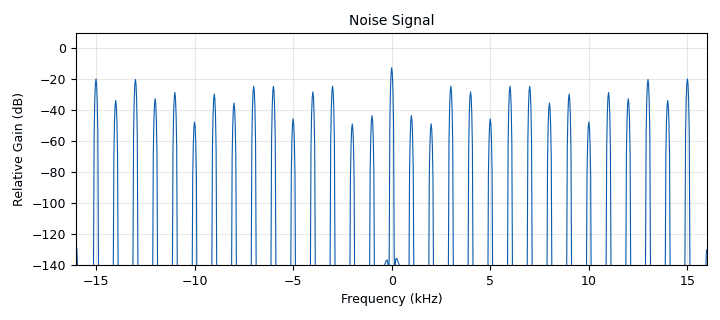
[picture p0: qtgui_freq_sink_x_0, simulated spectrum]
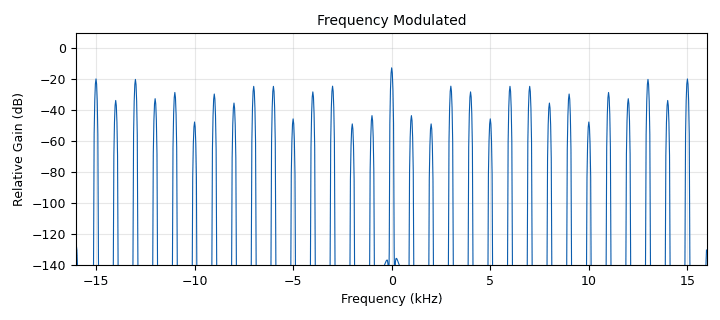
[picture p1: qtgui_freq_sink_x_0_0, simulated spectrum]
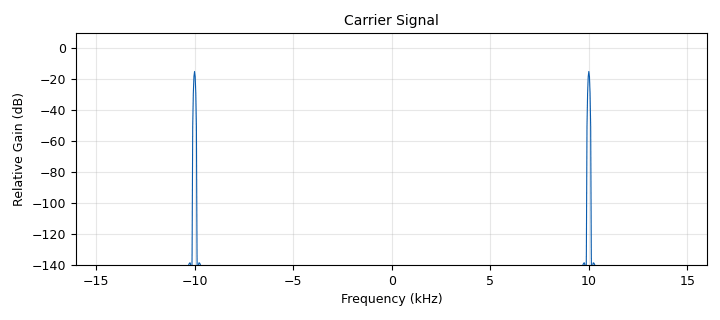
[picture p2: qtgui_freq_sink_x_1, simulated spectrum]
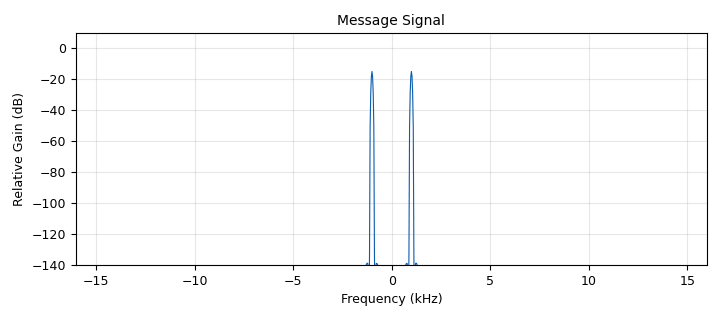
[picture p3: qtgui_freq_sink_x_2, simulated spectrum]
options:
  parameters:
    author: Eman Malik
    generate_options: qt_gui
    id: Impulse_Noise
    output_language: python
    title: Not titled yet
  states: {}

blocks:
- name: samp_rate
  id: variable
  parameters:
    value: '32000'
  states: {}
- name: variable_qtgui_range_0
  id: variable_qtgui_range
  parameters:
    start: '0'
    step: '1'
    stop: '100'
    value: '50'
  states: {}
- name: analog_frequency_modulator_fc_0
  id: analog_frequency_modulator_fc
  parameters:
    sensitivity: '314.16'
  states: {}
- name: analog_sig_source_x_0
  id: analog_sig_source_x
  parameters:
    amp: '1'
    freq: '1000'
    offset: '0'
    phase: '0'
    samp_rate: samp_rate
    type: float
    waveform: analog.GR_SIN_WAVE
  states: {}
- name: analog_sig_source_x_0_0
  id: analog_sig_source_x
  parameters:
    amp: '1'
    freq: '10000'
    offset: '0'
    phase: '0'
    samp_rate: samp_rate
    type: float
    waveform: analog.GR_COS_WAVE
  states: {}
- name: blocks_add_xx_0
  id: blocks_add_xx
  parameters:
    type: complex
  states: {}
- name: blocks_multiply_const_vxx_0
  id: blocks_multiply_const_vxx
  parameters:
    const: '1'
    type: complex
  states: {}
- name: blocks_throttle2_0
  id: blocks_throttle2
  parameters:
    samples_per_second: samp_rate
    type: float
  states: {}
- name: blocks_vector_source_x_0
  id: blocks_vector_source_x
  parameters:
    repeat: 'True'
    type: complex
    vector: (0,0,0)
  states: {}
- name: qtgui_freq_sink_x_0
  id: qtgui_freq_sink_x
  parameters:
    bw: samp_rate
    fc: '0'
    fftsize: '1024'
    name: '"Noise Signal"'
    type: complex
  states: {}
- name: qtgui_freq_sink_x_0_0
  id: qtgui_freq_sink_x
  parameters:
    bw: samp_rate
    fc: '0'
    fftsize: '1024'
    name: '"Frequency Modulated"'
    type: complex
  states: {}
- name: qtgui_freq_sink_x_1
  id: qtgui_freq_sink_x
  parameters:
    bw: samp_rate
    fc: '0'
    fftsize: '1024'
    name: '"Carrier Signal"'
    type: float
  states: {}
- name: qtgui_freq_sink_x_2
  id: qtgui_freq_sink_x
  parameters:
    bw: samp_rate
    fc: '0'
    fftsize: '1024'
    name: '"Message Signal"'
    type: float
  states: {}

connections:
- [analog_frequency_modulator_fc_0, '0', blocks_add_xx_0, '0']
- [analog_frequency_modulator_fc_0, '0', qtgui_freq_sink_x_0_0, '0']
- [analog_sig_source_x_0, '0', blocks_throttle2_0, '0']
- [analog_sig_source_x_0, '0', qtgui_freq_sink_x_2, '0']
- [analog_sig_source_x_0_0, '0', qtgui_freq_sink_x_1, '0']
- [blocks_add_xx_0, '0', qtgui_freq_sink_x_0, '0']
- [blocks_multiply_const_vxx_0, '0', blocks_add_xx_0, '1']
- [blocks_throttle2_0, '0', analog_frequency_modulator_fc_0, '0']
- [blocks_vector_source_x_0, '0', blocks_multiply_const_vxx_0, '0']

metadata:
  file_format: 1
  grc_version: 3.10.10.0
